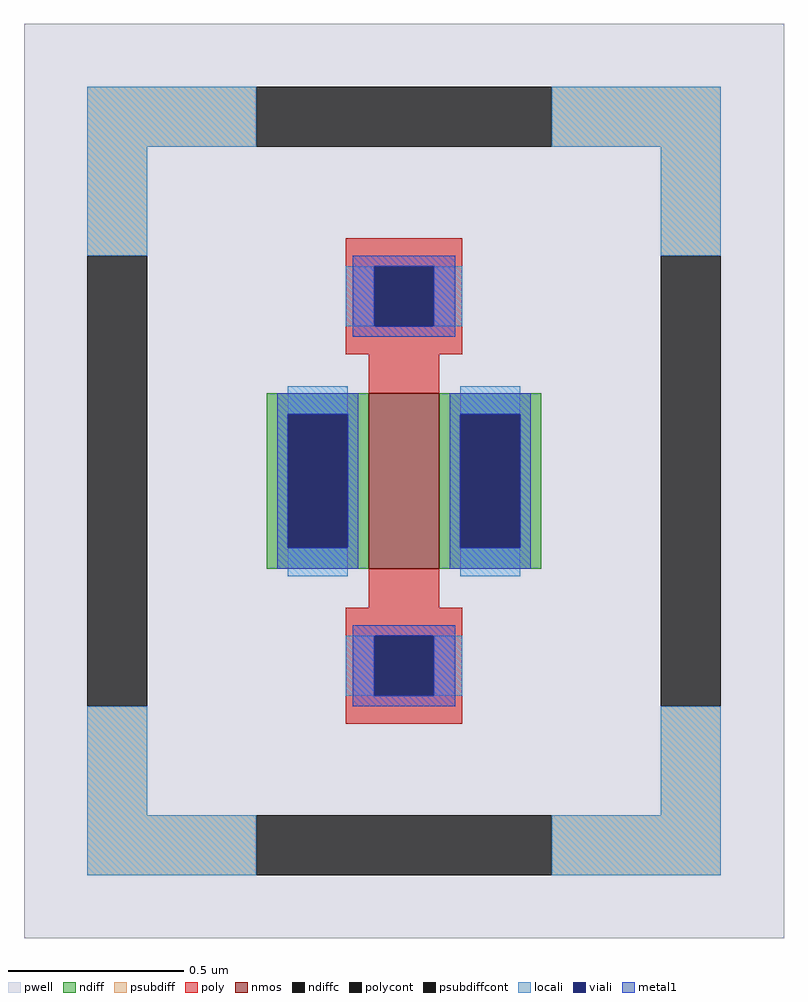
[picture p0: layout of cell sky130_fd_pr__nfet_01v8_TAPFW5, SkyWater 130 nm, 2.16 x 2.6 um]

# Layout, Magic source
magic
tech sky130A
magscale 1 2
<< pwell >>
rect -216 -260 216 260
<< nmos >>
rect -20 -50 20 50
<< ndiff >>
rect -78 38 -20 50
rect -78 -38 -66 38
rect -32 -38 -20 38
rect -78 -50 -20 -38
rect 20 38 78 50
rect 20 -38 32 38
rect 66 -38 78 38
rect 20 -50 78 -38
<< ndiffc >>
rect -66 -38 -32 38
rect 32 -38 66 38
<< psubdiff >>
rect -180 190 -84 224
rect 84 190 180 224
rect -180 128 -146 190
rect 146 128 180 190
rect -180 -190 -146 -128
rect 146 -190 180 -128
rect -180 -224 -84 -190
rect 84 -224 180 -190
<< psubdiffcont >>
rect -84 190 84 224
rect -180 -128 -146 128
rect 146 -128 180 128
rect -84 -224 84 -190
<< poly >>
rect -33 122 33 138
rect -33 88 -17 122
rect 17 88 33 122
rect -33 72 33 88
rect -20 50 20 72
rect -20 -72 20 -50
rect -33 -88 33 -72
rect -33 -122 -17 -88
rect 17 -122 33 -88
rect -33 -138 33 -122
<< polycont >>
rect -17 88 17 122
rect -17 -122 17 -88
<< locali >>
rect -180 190 -84 224
rect 84 190 180 224
rect -180 128 -146 190
rect 146 128 180 190
rect -33 88 -17 122
rect 17 88 33 122
rect -66 38 -32 54
rect -66 -54 -32 -38
rect 32 38 66 54
rect 32 -54 66 -38
rect -33 -122 -17 -88
rect 17 -122 33 -88
rect -180 -190 -146 -128
rect 146 -190 180 -128
rect -180 -224 -84 -190
rect 84 -224 180 -190
<< viali >>
rect -17 88 17 122
rect -66 -38 -32 38
rect 32 -38 66 38
rect -17 -122 17 -88
<< metal1 >>
rect -29 122 29 128
rect -29 88 -17 122
rect 17 88 29 122
rect -29 82 29 88
rect -72 38 -26 50
rect -72 -38 -66 38
rect -32 -38 -26 38
rect -72 -50 -26 -38
rect 26 38 72 50
rect 26 -38 32 38
rect 66 -38 72 38
rect 26 -50 72 -38
rect -29 -88 29 -82
rect -29 -122 -17 -88
rect 17 -122 29 -88
rect -29 -128 29 -122
<< properties >>
string FIXED_BBOX -163 -207 163 207
string gencell sky130_fd_pr__nfet_01v8
string library sky130
string parameters w 0.5 l 0.2 m 1 nf 1 diffcov 100 polycov 100 guard 1 glc 1 grc 1 gtc 1 gbc 1 tbcov 100 rlcov 100 topc 1 botc 1 poverlap 0 doverlap 1 lmin 0.15 wmin 0.42 class mosfet compatible {sky130_fd_pr__nfet_01v8 sky130_fd_pr__nfet_01v8_lvt  sky130_fd_bs_flash__special_sonosfet_star  sky130_fd_pr__nfet_g5v0d10v5 sky130_fd_pr__nfet_05v0_nvt  sky130_fd_pr__nfet_03v3_nvt} full_metal 1 viasrc 100 viadrn 100 viagate 100 viagb 0 viagr 0 viagl 0 viagt 0 ad {int((nf+1)/2) * W/nf * 0.29} as {int((nf+2)/2) * W/nf * 0.29} pd {2*int((nf+1)/2) * (W/nf + 0.29)} ps {2*int((nf+2)/2) * (W/nf + 0.29)} nrd {0.29 / W} nrs {0.29 / W} sa 0 sb 0 sd 0 mult 1
<< end >>
